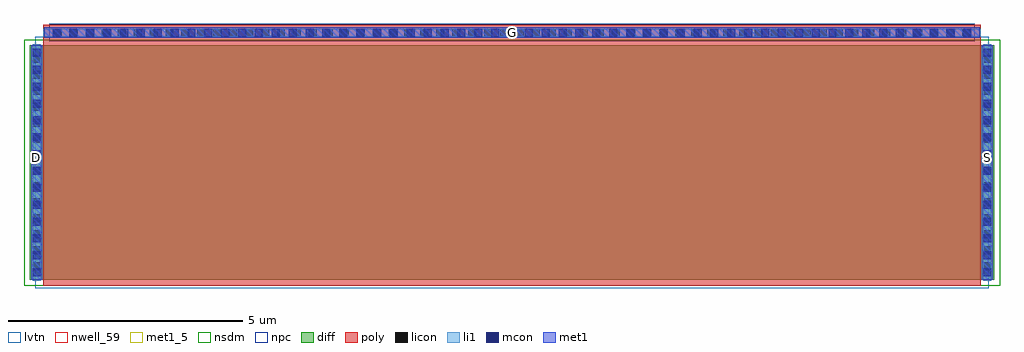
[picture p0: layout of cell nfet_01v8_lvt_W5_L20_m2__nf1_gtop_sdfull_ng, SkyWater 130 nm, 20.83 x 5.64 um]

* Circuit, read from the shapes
.subckt nfet_01v8_lvt_W5_L20_m2__nf1_gtop_sdfull_ng B D G S
XM1 S G D B sky130_fd_pr__nfet_01v8_lvt w=5 l=20
.ends

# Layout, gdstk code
import gdstk
lib = gdstk.Library(unit=1e-6, precision=1e-09)
def R(c, l, rs):  # rectangles x0, y0, x1, y1
    for r in rs: c.add(gdstk.rectangle(r[:2], r[2:], *l))
def A(c, l, x, y, w, h, nx, ny, dx, dy):  # array of equal rectangles
    R(c, l, [(x+i*dx, y+j*dy, x+i*dx+w, y+j*dy+h) for i in range(nx) for j in range(ny)])
nwell_59 = (64, 59)
diff = (65, 20)
poly = (66, 20)
licon = (66, 44)
li1 = (67, 20)
mcon = (67, 44)
met1_5 = (68, 5)
met1 = (68, 20)
nsdm = (93, 44)
npc = (95, 20)
lvtn = (125, 44)

sky130_fd_pr__nfet_01v8_ = lib.new_cell('sky130_fd_pr__nfet_01v8_lvt_287V9Q')
R(sky130_fd_pr__nfet_01v8_, diff, [(-10.29,-2.655,10.29,2.345)])
R(sky130_fd_pr__nfet_01v8_, poly, [(-10,-2.785,10,2.785)])
A(sky130_fd_pr__nfet_01v8_, licon, -10.23, -2.45, 0.17, 0.17, 1, 14, 0, 0.34)
A(sky130_fd_pr__nfet_01v8_, licon, 10.06, -2.45, 0.17, 0.17, 1, 14, 0, 0.34)
A(sky130_fd_pr__nfet_01v8_, licon, -9.775, 2.535, 0.17, 0.17, 58, 1, 0.34, 0)
R(sky130_fd_pr__nfet_01v8_, li1, [(-10.23,-2.675,-10.06,2.365), (10.06,-2.675,10.23,2.365), (-10,2.535,10,2.705)])
A(sky130_fd_pr__nfet_01v8_, mcon, -10.23, -2.58, 0.17, 0.17, 1, 14, 0, 0.36)
A(sky130_fd_pr__nfet_01v8_, mcon, 10.06, -2.58, 0.17, 0.17, 1, 14, 0, 0.36)
A(sky130_fd_pr__nfet_01v8_, mcon, -9.805, 2.535, 0.17, 0.17, 55, 1, 0.36, 0)
R(sky130_fd_pr__nfet_01v8_, met1, [(-10.26,-2.655,-10.03,2.345), (10.03,-2.655,10.26,2.345), (-9.98,2.505,9.98,2.735)])
R(sky130_fd_pr__nfet_01v8_, nsdm, [(-10.415,-2.78,10.415,2.47)])
R(sky130_fd_pr__nfet_01v8_, npc, [(-9.875,2.435,9.875,2.805)])
R(sky130_fd_pr__nfet_01v8_, lvtn, [(-10.18,-2.835,10.18,2.525)])
sky130_fd_pr__nfet_01v8_.add(gdstk.Label('D', (-10.145,-0.155), layer=67, texttype=5))
sky130_fd_pr__nfet_01v8_.add(gdstk.Label('S', (10.145,-0.155), layer=67, texttype=5))
sky130_fd_pr__nfet_01v8_.add(gdstk.Label('G', (0,2.62), layer=67, texttype=5))

nfet_01v8_lvt_w5_l20_m2_ = lib.new_cell('nfet_01v8_lvt_W5_L20_m2__nf1_gtop_sdfull_ng')
R(nfet_01v8_lvt_w5_l20_m2_, nwell_59, [(0.05,2.58,0.15,2.68)])
R(nfet_01v8_lvt_w5_l20_m2_, met1_5, [(0.03,2.63,0.26,2.83), (20.32,2.63,20.55,2.83), (0.31,5.29,20.27,5.52)])
R(nfet_01v8_lvt_w5_l20_m2_, met1, [(0.03,2.63,0.26,2.83), (20.32,2.63,20.55,2.83), (0.31,5.29,20.27,5.52)])
nfet_01v8_lvt_w5_l20_m2_.add(gdstk.Reference(sky130_fd_pr__nfet_01v8_, (10.29,2.785)))
nfet_01v8_lvt_w5_l20_m2_.add(gdstk.Label('D', (0.145,2.73), layer=68, texttype=5))
nfet_01v8_lvt_w5_l20_m2_.add(gdstk.Label('S', (20.435,2.73), layer=68, texttype=5))
nfet_01v8_lvt_w5_l20_m2_.add(gdstk.Label('G', (10.29,5.405), layer=68, texttype=5))
nfet_01v8_lvt_w5_l20_m2_.add(gdstk.Label('B', (0.1,2.63), layer=64, texttype=59))

lib.write_gds('nfet_01v8_lvt_W5_L20_m2__nf1_gtop_sdfull_ng.gds')
